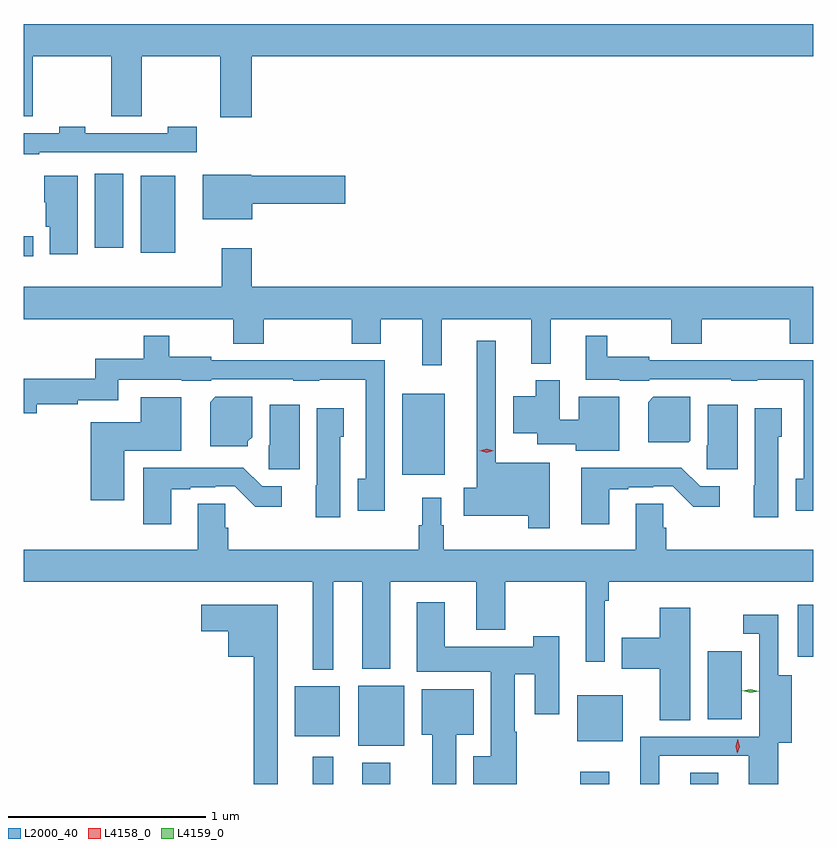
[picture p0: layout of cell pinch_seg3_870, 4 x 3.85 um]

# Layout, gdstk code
import gdstk
lib = gdstk.Library(unit=1e-6, precision=1e-09)
def R(c, l, rs):  # rectangles x0, y0, x1, y1
    for r in rs: c.add(gdstk.rectangle(r[:2], r[2:], *l))
def P(c, l, *ps):  # polygons
    for p in ps: c.add(gdstk.Polygon(p, *l))
L2000_40 = (2000, 40)
L4158_0 = (4158, 0)
L4159_0 = (4159, 0)

pinch_seg3_870 = lib.new_cell('pinch_seg3_870')
R(pinch_seg3_870, L2000_40, [(706.805,673.252,706.909,673.39), (707.057,673.252,707.197,673.36), (708.16,673.252,708.307,673.315), (708.719,673.252,708.859,673.31), (707.036,673.445,707.269,673.75), (708.146,673.469,708.376,673.702), (706.715,673.493,706.942,673.747), (708.806,673.58,708.979,673.924), (709.262,673.898,709.341,674.161), (707.258,674.819,707.473,675.229), (705.341,675.926,705.388,676.028), (705.932,675.944,706.108,676.336), (705.701,675.969,705.844,676.345)])
P(pinch_seg3_870, L2000_40, [(705.341,676.636),(705.386,676.636),(705.386,676.94),(705.784,676.94),(705.784,676.636),(705.938,676.636),(705.938,676.94),(706.336,676.94),(706.336,676.632),(706.496,676.632),(706.496,676.94),(709.341,676.94),(709.341,677.104),(705.341,677.104)],
  [(705.419,676.455),(706.216,676.455),(706.216,676.584),(706.071,676.584),(706.071,676.551),(705.651,676.551),(705.651,676.584),(705.519,676.584),(705.519,676.551),(705.341,676.551),(705.341,676.443),(705.419,676.443)],
  [(706.498,676.192),(706.969,676.192),(706.969,676.334),(706.494,676.334),(706.494,676.339),(706.247,676.339),(706.247,676.115),(706.498,676.115)],
  [(705.613,676.336),(705.443,676.336),(705.443,676.2),(705.452,676.2),(705.452,676.077),(705.473,676.077),(705.473,675.936),(705.613,675.936)],
  [(707.459,675.608),(707.912,675.608),(707.912,675.383),(708.011,675.383),(708.011,675.608),(708.622,675.608),(708.622,675.484),(708.777,675.484),(708.777,675.608),(709.222,675.608),(709.222,675.484),(709.341,675.484),(709.341,675.772),(706.496,675.772),(706.496,675.967),(706.343,675.967),(706.343,675.772),(705.341,675.772),(705.341,675.608),(706.402,675.608),(706.402,675.484),(706.557,675.484),(706.557,675.608),(707.002,675.608),(707.002,675.484),(707.149,675.484),(707.149,675.608),(707.36,675.608),(707.36,675.375),(707.459,675.375)],
  [(709.341,675.399),(709.159,675.399),(709.159,675.401),(708.927,675.401),(708.927,675.399),(708.51,675.399),(708.51,675.418),(708.298,675.418),(708.298,675.523),(708.188,675.523),(708.188,675.302),(708.36,675.302),(708.36,675.296),(708.51,675.296),(708.51,675.303),(708.927,675.303),(708.927,675.296),(709.059,675.296),(709.059,675.302),(709.293,675.302),(709.293,674.798),(709.253,674.798),(709.253,674.637),(709.341,674.637)],
  [(707.169,675.399),(706.939,675.399),(706.939,675.401),(706.707,675.401),(706.707,675.399),(706.29,675.399),(706.29,675.418),(706.078,675.418),(706.078,675.523),(705.949,675.523),(705.949,675.407),(705.703,675.407),(705.703,675.307),(705.341,675.307),(705.341,675.131),(705.406,675.131),(705.406,675.178),(705.614,675.178),(705.614,675.198),(705.819,675.198),(705.819,675.302),(706.14,675.302),(706.14,675.296),(706.29,675.296),(706.29,675.303),(706.707,675.303),(706.707,675.296),(706.839,675.296),(706.839,675.302),(707.073,675.302),(707.073,674.798),(707.033,674.798),(707.033,674.637),(707.169,674.637)],
  [(708.006,674.881),(707.733,674.881),(707.733,675.499),(707.636,675.499),(707.636,674.753),(707.57,674.753),(707.57,674.612),(707.898,674.612),(707.898,674.547),(708.006,674.547)],
  [(708.358,675.214),(708.152,675.214),(708.152,675.098),(708.058,675.098),(708.058,675.298),(707.936,675.298),(707.936,675.217),(707.822,675.217),(707.822,675.029),(707.942,675.029),(707.942,674.975),(708.138,674.975),(708.138,674.942),(708.358,674.942)],
  [(706.476,674.988),(706.498,675.01),(706.498,675.214),(706.312,675.214),(706.286,675.188),(706.286,674.963),(706.476,674.963)],
  [(708.718,674.992),(708.718,675.214),(708.532,675.214),(708.506,675.188),(708.506,674.984),(708.71,674.984)],
  [(705.85,674.942),(706.138,674.942),(706.138,675.212),(705.932,675.212),(705.932,675.085),(705.68,675.085),(705.68,674.691),(705.85,674.691)],
  [(706.738,675.175),(706.586,675.175),(706.586,674.97),(706.582,674.97),(706.582,674.847),(706.738,674.847)],
  [(708.958,675.175),(708.806,675.175),(708.806,674.97),(708.802,674.97),(708.802,674.847),(708.958,674.847)],
  [(709.165,675.012),(709.183,675.012),(709.183,675.157),(709.046,675.157),(709.046,674.766),(709.04,674.766),(709.04,674.604),(709.165,674.604)],
  [(706.945,675.012),(706.963,675.012),(706.963,675.157),(706.826,675.157),(706.826,674.766),(706.82,674.766),(706.82,674.604),(706.945,674.604)],
  [(708.307,674.745),(708.403,674.745),(708.403,674.757),(708.53,674.757),(708.53,674.76),(708.63,674.76),(708.733,674.658),(708.868,674.658),(708.868,674.76),(708.768,674.76),(708.673,674.855),(708.167,674.855),(708.167,674.568),(708.307,674.568)],
  [(706.087,674.745),(706.183,674.745),(706.183,674.757),(706.31,674.757),(706.31,674.76),(706.41,674.76),(706.513,674.658),(706.648,674.658),(706.648,674.76),(706.548,674.76),(706.454,674.854),(705.947,674.854),(705.947,674.568),(706.087,674.568)],
  [(706.909,674.276),(707.057,674.276),(707.057,673.835),(707.197,673.835),(707.197,674.276),(707.633,674.276),(707.633,674.033),(707.781,674.033),(707.781,674.276),(708.188,674.276),(708.188,673.872),(708.285,673.872),(708.285,674.18),(708.305,674.18),(708.305,674.276),(709.341,674.276),(709.341,674.44),(708.596,674.44),(708.596,674.55),(708.582,674.55),(708.582,674.672),(708.443,674.672),(708.443,674.44),(707.47,674.44),(707.47,674.564),(707.457,674.564),(707.457,674.704),(707.36,674.704),(707.36,674.564),(707.341,674.564),(707.341,674.44),(706.376,674.44),(706.376,674.55),(706.362,674.55),(706.362,674.672),(706.223,674.672),(706.223,674.44),(705.341,674.44),(705.341,674.276),(706.805,674.276),(706.805,673.832),(706.909,673.832)],
  [(707.838,673.517),(707.83,673.517),(707.83,673.808),(707.93,673.808),(707.93,673.605),(708.055,673.605),(708.055,674.002),(707.923,674.002),(707.923,673.948),(707.473,673.948),(707.473,674.173),(707.333,674.173),(707.333,673.82),(707.708,673.82),(707.708,673.393),(707.618,673.393),(707.618,673.252),(707.838,673.252)],
  [(706.627,674.161),(706.239,674.161),(706.239,674.027),(706.376,674.027),(706.376,673.898),(706.506,673.898),(706.506,673.252),(706.627,673.252)],
  [(708.718,674.146),(708.563,674.146),(708.563,673.993),(708.37,673.993),(708.37,673.835),(708.563,673.835),(708.563,673.576),(708.718,673.576)],
  [(708.562,673.395),(709.016,673.395),(709.016,673.252),(709.165,673.252),(709.165,673.46),(709.234,673.46),(709.234,673.804),(709.164,673.804),(709.164,674.11),(708.987,674.11),(708.987,674.013),(709.068,674.013),(709.068,673.7),(709.067,673.7),(709.067,673.491),(708.464,673.491),(708.464,673.252),(708.562,673.252)],
  [(707.533,673.502),(707.62,673.502),(707.62,673.732),(707.357,673.732),(707.357,673.502),(707.411,673.502),(707.411,673.252),(707.533,673.252)])
P(pinch_seg3_870, L4158_0, [(708.956,673.407),(708.948,673.443),(708.959,673.478),(708.959,673.478),(708.96,673.478),(708.968,673.442),(708.957,673.407),(708.957,673.407)],
  [(707.687,674.931),(707.652,674.94),(707.651,674.94),(707.652,674.94),(707.687,674.951),(707.722,674.942),(707.722,674.942),(707.722,674.942)])
P(pinch_seg3_870, L4159_0, [(709.024,673.714),(708.983,673.724),(708.982,673.724),(708.983,673.724),(709.024,673.733),(709.065,673.723),(709.065,673.723),(709.065,673.723)])

lib.write_gds('pinch_seg3_870.gds')
